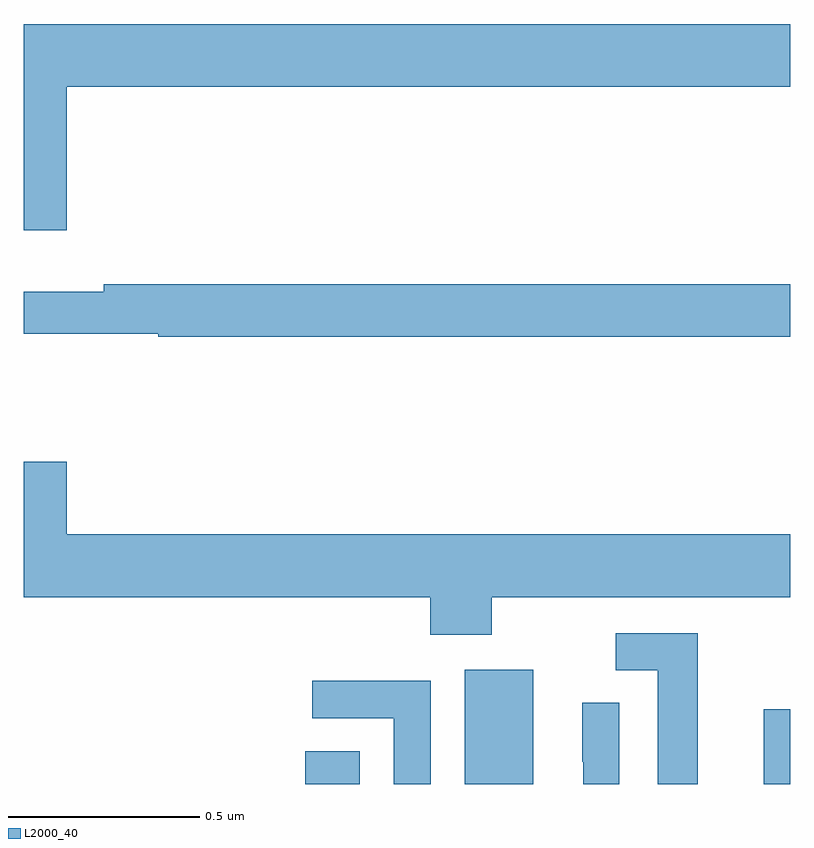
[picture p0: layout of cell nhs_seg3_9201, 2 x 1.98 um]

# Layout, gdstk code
import gdstk
lib = gdstk.Library(unit=1e-6, precision=1e-09)
def R(c, l, rs):  # rectangles x0, y0, x1, y1
    for r in rs: c.add(gdstk.rectangle(r[:2], r[2:], *l))
def P(c, l, *ps):  # polygons
    for p in ps: c.add(gdstk.Polygon(p, *l))
L2000_40 = (2000, 40)

nhs_seg3_9201 = lib.new_cell('nhs_seg3_9201')
R(nhs_seg3_9201, L2000_40, [(225.734,728.4,225.877,728.486), (226.151,728.4,226.33,728.698), (226.931,728.4,227,728.595)])
P(nhs_seg3_9201, L2000_40, [(225.112,730.22),(227,730.22),(227,730.384),(225,730.384),(225,729.846),(225.112,729.846)],
  [(227,729.704),(225.208,729.704),(225.208,729.685),(225,729.685),(225,729.576),(225.35,729.576),(225.35,729.568),(227,729.568)],
  [(226.221,728.888),(227,728.888),(227,729.052),(225.112,729.052),(225.112,729.241),(225,729.241),(225,728.888),(226.061,728.888),(226.061,728.789),(226.221,728.789)],
  [(226.759,728.793),(226.545,728.793),(226.545,728.697),(226.655,728.697),(226.655,728.4),(226.759,728.4)],
  [(226.062,728.67),(225.753,728.67),(225.753,728.571),(225.966,728.571),(225.966,728.4),(226.062,728.4)],
  [(226.554,728.612),(226.458,728.612),(226.458,728.458),(226.46,728.458),(226.46,728.4),(226.554,728.4)])

lib.write_gds('nhs_seg3_9201.gds')
